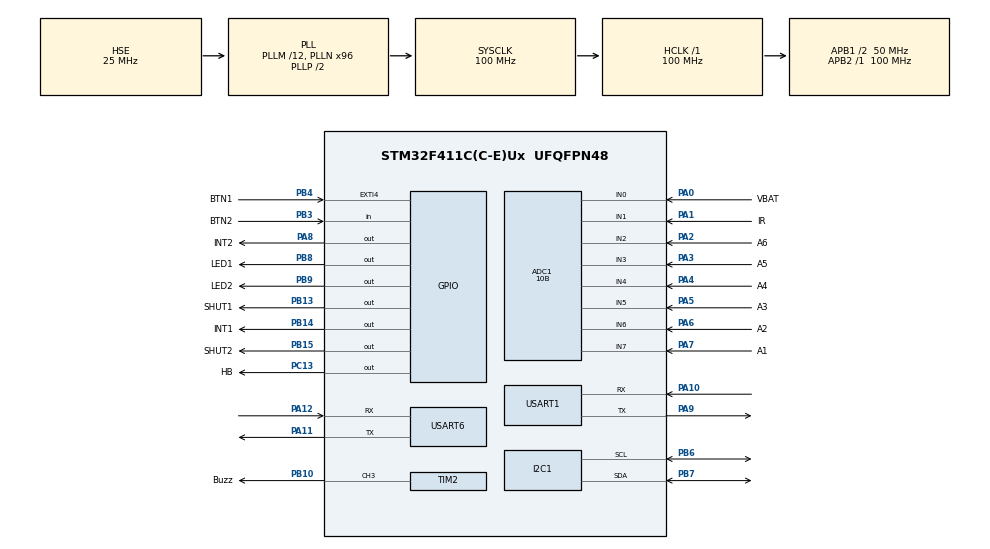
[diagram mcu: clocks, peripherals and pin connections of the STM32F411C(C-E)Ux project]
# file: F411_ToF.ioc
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ADC1.Channel-0\#ChannelRegularConversion=ADC_CHANNEL_1
ADC1.ContinuousConvMode=ENABLE
ADC1.DMAContinuousRequests=ENABLE
ADC1.NbrOfConversionFlag=1
ADC1.Rank-0\#ChannelRegularConversion=1
ADC1.Resolution=ADC_RESOLUTION_10B
ADC1.SamplingTime-0\#ChannelRegularConversion=ADC_SAMPLETIME_3CYCLES
ADC1.ScanConvMode=ENABLE
ADC1.master=1
Dma.ADC1.0.Direction=DMA_PERIPH_TO_MEMORY
Dma.ADC1.0.FIFOMode=DMA_FIFOMODE_DISABLE
Dma.ADC1.0.Instance=DMA2_Stream0
Dma.ADC1.0.MemDataAlignment=DMA_MDATAALIGN_HALFWORD
Dma.ADC1.0.MemInc=DMA_MINC_ENABLE
Dma.ADC1.0.Mode=DMA_NORMAL
Dma.ADC1.0.PeriphDataAlignment=DMA_PDATAALIGN_HALFWORD
Dma.ADC1.0.PeriphInc=DMA_PINC_DISABLE
Dma.ADC1.0.Priority=DMA_PRIORITY_LOW
Dma.Request0=ADC1
Dma.Request1=USART1_RX
Dma.Request2=USART1_TX
Dma.USART1_RX.1.Direction=DMA_PERIPH_TO_MEMORY
Dma.USART1_RX.1.FIFOMode=DMA_FIFOMODE_DISABLE
Dma.USART1_RX.1.Instance=DMA2_Stream5
Dma.USART1_RX.1.MemDataAlignment=DMA_MDATAALIGN_BYTE
Dma.USART1_RX.1.MemInc=DMA_MINC_ENABLE
Dma.USART1_RX.1.Mode=DMA_NORMAL
Dma.USART1_RX.1.PeriphDataAlignment=DMA_PDATAALIGN_BYTE
Dma.USART1_RX.1.PeriphInc=DMA_PINC_DISABLE
Dma.USART1_RX.1.Priority=DMA_PRIORITY_LOW
Dma.USART1_TX.2.Direction=DMA_MEMORY_TO_PERIPH
Dma.USART1_TX.2.FIFOMode=DMA_FIFOMODE_DISABLE
Dma.USART1_TX.2.Instance=DMA2_Stream7
Dma.USART1_TX.2.MemDataAlignment=DMA_MDATAALIGN_BYTE
Dma.USART1_TX.2.MemInc=DMA_MINC_ENABLE
Dma.USART1_TX.2.Mode=DMA_NORMAL
Dma.USART1_TX.2.PeriphDataAlignment=DMA_PDATAALIGN_BYTE
Dma.USART1_TX.2.PeriphInc=DMA_PINC_DISABLE
Dma.USART1_TX.2.Priority=DMA_PRIORITY_LOW
Mcu.Family=STM32F4
Mcu.Name=STM32F411C(C-E)Ux
Mcu.Package=UFQFPN48
NVIC.DMA2_Stream0_IRQn=true\:0\:0\:false\:false\:true\:false\:true\:true
NVIC.DMA2_Stream5_IRQn=true\:0\:0\:false\:false\:true\:false\:true\:true
NVIC.DMA2_Stream7_IRQn=true\:0\:0\:false\:false\:true\:false\:true\:true
NVIC.PriorityGroup=NVIC_PRIORITYGROUP_4
NVIC.USART1_IRQn=true\:0\:0\:false\:false\:true\:true\:true\:true
PA0-WKUP.GPIO_Label=VBAT
PA0-WKUP.Signal=ADCx_IN0
PA1.GPIO_Label=IR
PA1.Signal=ADCx_IN1
PA10.Mode=Asynchronous
PA10.Signal=USART1_RX
PA11.Mode=Asynchronous
PA11.Signal=USART6_TX
PA12.Mode=Asynchronous
PA12.Signal=USART6_RX
PA13.Mode=Serial_Wire
PA13.Signal=SYS_JTMS-SWDIO
PA14.Mode=Serial_Wire
PA14.Signal=SYS_JTCK-SWCLK
PA2.GPIO_Label=A6
PA2.Signal=ADCx_IN2
PA3.GPIO_Label=A5
PA3.Signal=ADCx_IN3
PA4.GPIO_Label=A4
PA4.Signal=ADCx_IN4
PA5.GPIO_Label=A3
PA5.Signal=ADCx_IN5
PA6.GPIO_Label=A2
PA6.Signal=ADCx_IN6
PA7.GPIO_Label=A1
PA7.Signal=ADCx_IN7
PA8.GPIO_Label=INT2
PA8.Signal=GPIO_Output
PA9.Mode=Asynchronous
PA9.Signal=USART1_TX
PB10.GPIO_Label=Buzz
PB10.Signal=S_TIM2_CH3
PB13.GPIO_Label=SHUT1
PB13.Signal=GPIO_Output
PB14.GPIO_Label=INT1
PB14.Signal=GPIO_Output
PB15.GPIO_Label=SHUT2
PB15.Signal=GPIO_Output
PB3.GPIO_Label=BTN2
PB3.Signal=GPIO_Input
PB4.GPIO_Label=BTN1
PB4.Signal=GPXTI4
PB6.Mode=I2C
PB6.Signal=I2C1_SCL
PB7.Mode=I2C
PB7.Signal=I2C1_SDA
PB8.GPIO_Label=LED1
PB8.Signal=GPIO_Output
PB9.GPIO_Label=LED2
PB9.Signal=GPIO_Output
PC13-ANTI_TAMP.GPIO_Label=HB
PC13-ANTI_TAMP.Signal=GPIO_Output
PH0\ -\ OSC_IN.Mode=HSE-External-Oscillator
PH0\ -\ OSC_IN.Signal=RCC_OSC_IN
PH1\ -\ OSC_OUT.Mode=HSE-External-Oscillator
PH1\ -\ OSC_OUT.Signal=RCC_OSC_OUT
ProjectManager.HeapSize=0x200
ProjectManager.StackSize=0x400
ProjectManager.TargetToolchain=STM32CubeIDE
RCC.48MHZClocksFreq_Value=50000000
RCC.AHBFreq_Value=100000000
RCC.APB1CLKDivider=RCC_HCLK_DIV2
RCC.APB1Freq_Value=50000000
RCC.APB1TimFreq_Value=100000000
RCC.APB2Freq_Value=100000000
RCC.APB2TimFreq_Value=100000000
RCC.CortexFreq_Value=100000000
RCC.HCLKFreq_Value=100000000
RCC.HSE_VALUE=25000000
RCC.HSI_VALUE=16000000
RCC.LSE_VALUE=32768
RCC.PLLM=12
RCC.PLLN=96
RCC.PLLSourceVirtual=RCC_PLLSOURCE_HSE
RCC.SYSCLKFreq_VALUE=100000000
RCC.SYSCLKSource=RCC_SYSCLKSOURCE_PLLCLK
RCC.VCOOutputFreq_Value=200000000
SH.ADCx_IN0.0=ADC1_IN0,IN0
SH.ADCx_IN1.0=ADC1_IN1,IN1
SH.ADCx_IN2.0=ADC1_IN2,IN2
SH.ADCx_IN3.0=ADC1_IN3,IN3
SH.ADCx_IN4.0=ADC1_IN4,IN4
SH.ADCx_IN5.0=ADC1_IN5,IN5
SH.ADCx_IN6.0=ADC1_IN6,IN6
SH.ADCx_IN7.0=ADC1_IN7,IN7
SH.S_TIM2_CH3.0=TIM2_CH3,PWM Generation3 CH3
TIM2.Channel-PWM\ Generation3\ CH3=TIM_CHANNEL_3
USART1.VirtualMode=VM_ASYNC
USART6.VirtualMode=VM_ASYNC
VP_TIM2_VS_ClockSourceINT.Mode=Internal
board=custom

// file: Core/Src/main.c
/* USER CODE BEGIN Header */
/**
  ******************************************************************************
  * @file           : main.c
  * @brief          : Main program body
  ******************************************************************************
  * @attention
  *
  * Copyright (c) 2026 STMicroelectronics.
  * All rights reserved.
  *
  * This software is licensed under terms that can be found in the LICENSE file
  * in the root directory of this software component.
  * If no LICENSE file comes with this software, it is provided AS-IS.
  *
  ******************************************************************************
  */
/* USER CODE END Header */
#include "main.h"

/* USER CODE BEGIN Includes */
#include "VL53L1X_api.h"
#include "VL53L1X_calibration.h"
#include "Debug.h"
/* USER CODE END Includes */

/* USER CODE BEGIN PTD */
typedef enum {
	STANDBY,
	INIT,
	RUNNING
}executeState;

typedef struct {
	uint8_t msgID;
	int16_t MTR1_setSpeed;
	int16_t MTR2_setSpeed;
	int16_t MTR1_speed;
	int16_t MTR2_speed;
}motorSpeed;

typedef struct {
	uint8_t msgID;
	uint8_t vBat;
	uint8_t fault;
}motorTEL;

motorTEL telFrame;

enum MsgID {
	MOTORCMD,
	MOTORTEL,
	FAULT
};
/* USER CODE END PTD */

/* USER CODE BEGIN PD */
#define tof0 0x52
#define tof1 0x54
#define tof2 0x52
#define rx_buff_size 10
/* USER CODE END PD */

ADC_HandleTypeDef hadc1;
DMA_HandleTypeDef hdma_adc1;

I2C_HandleTypeDef hi2c1;

TIM_HandleTypeDef htim2;

UART_HandleTypeDef huart1;
UART_HandleTypeDef huart6;
DMA_HandleTypeDef hdma_usart1_rx;
DMA_HandleTypeDef hdma_usart1_tx;

/* USER CODE BEGIN PV */
uint8_t rx_buff[rx_buff_size];

VL53L1X_ERROR status;

executeState progState;

float Rrate = 0;
uint32_t last = 0;
uint16_t distance;
uint8_t rangeStatus;
uint32_t startTick = 0;
uint32_t freeTick = 0;
uint32_t endTick = 0;
/* USER CODE END PV */

void SystemClock_Config(void);
static void MX_GPIO_Init(void);
static void MX_DMA_Init(void);
static void MX_I2C1_Init(void);
static void MX_ADC1_Init(void);
static void MX_TIM2_Init(void);
static void MX_USART1_UART_Init(void);
static void MX_USART6_UART_Init(void);
/* USER CODE BEGIN PFP */
#ifdef __GNUC__
#define PUTCHAR_PROTOTYPE int __io_putchar(int ch)
#else
#define PUTCHAR_PROTOTYPE int fputc(int ch, FILE *f)
#endif

void debug_HB(void);
void tofSensorRoutine(uint16_t dev, uint8_t newDev, GPIO_TypeDef* shutPort, uint16_t shutPin);

void getLinePos(float* pos);
/* USER CODE END PFP */

int main(void)
{

  /* MCU Configuration--------------------------------------------------------*/

  /* Reset of all peripherals, Initializes the Flash interface and the Systick. */
  HAL_Init();

  /* Configure the system clock */
  SystemClock_Config();

  /* Initialize all configured peripherals */
  MX_GPIO_Init();
  MX_DMA_Init();
  MX_I2C1_Init();
  MX_ADC1_Init();
  MX_TIM2_Init();
  MX_USART1_UART_Init();
  MX_USART6_UART_Init();
  /* USER CODE BEGIN 2 */
  printf("System initializing...\r\n");
  HAL_Delay(50);
  progState = INIT;
  if (progState == INIT) {

	  tofSensorRoutine(tof0, tof1, SHUT1_GPIO_Port, SHUT1_Pin);
	  VL53L1X_StartRanging(tof1);
	  progState = RUNNING;
  }

  HAL_UART_Receive_DMA(&huart6, rx_buff, rx_buff_size);
  /* USER CODE END 2 */

  /* Infinite loop */
  /* USER CODE BEGIN WHILE */
  while (1) {
	  if (progState == RUNNING) {
		  uint8_t rangeDataReady;

		  VL53L1X_CheckForDataReady(tof1, &rangeDataReady);
		  if (rangeDataReady) {
			  rangeDataReady = 0;
			  VL53L1X_GetRangeStatus(tof1, &rangeStatus);
			  VL53L1X_GetDistance(tof1, &distance);
			  printf("R%dS%d\n", distance, rangeStatus);
			  VL53L1X_ClearInterrupt(tof1);
			  Rrate = 1000.0f / (HAL_GetTick() - last);
			  last = HAL_GetTick();
		  }

		  HAL_Delay(1);

	  }

	  debug_HB();
    /* USER CODE END WHILE */

  }
}

void SystemClock_Config(void)
{
  RCC_OscInitTypeDef RCC_OscInitStruct = {0};
  RCC_ClkInitTypeDef RCC_ClkInitStruct = {0};

  /** Configure the main internal regulator output voltage
  */
  __HAL_RCC_PWR_CLK_ENABLE();
  __HAL_PWR_VOLTAGESCALING_CONFIG(PWR_REGULATOR_VOLTAGE_SCALE1);

  /** Initializes the RCC Oscillators according to the specified parameters
  * in the RCC_OscInitTypeDef structure.
  */
  RCC_OscInitStruct.OscillatorType = RCC_OSCILLATORTYPE_HSE;
  RCC_OscInitStruct.HSEState = RCC_HSE_ON;
  RCC_OscInitStruct.PLL.PLLState = RCC_PLL_ON;
  RCC_OscInitStruct.PLL.PLLSource = RCC_PLLSOURCE_HSE;
  RCC_OscInitStruct.PLL.PLLM = 12;
  RCC_OscInitStruct.PLL.PLLN = 96;
  RCC_OscInitStruct.PLL.PLLP = RCC_PLLP_DIV2;
  RCC_OscInitStruct.PLL.PLLQ = 4;
  if (HAL_RCC_OscConfig(&RCC_OscInitStruct) != HAL_OK)
  {
    Error_Handler();
  }

  /** Initializes the CPU, AHB and APB buses clocks
  */
  RCC_ClkInitStruct.ClockType = RCC_CLOCKTYPE_HCLK|RCC_CLOCKTYPE_SYSCLK
                              |RCC_CLOCKTYPE_PCLK1|RCC_CLOCKTYPE_PCLK2;
  RCC_ClkInitStruct.SYSCLKSource = RCC_SYSCLKSOURCE_PLLCLK;
  RCC_ClkInitStruct.AHBCLKDivider = RCC_SYSCLK_DIV1;
  RCC_ClkInitStruct.APB1CLKDivider = RCC_HCLK_DIV2;
  RCC_ClkInitStruct.APB2CLKDivider = RCC_HCLK_DIV1;

  if (HAL_RCC_ClockConfig(&RCC_ClkInitStruct, FLASH_LATENCY_3) != HAL_OK)
  {
    Error_Handler();
  }
}

static void MX_ADC1_Init(void)
{

  ADC_ChannelConfTypeDef sConfig = {0};

  /** Configure the global features of the ADC (Clock, Resolution, Data Alignment and number of conversion)
  */
  hadc1.Instance = ADC1;
  hadc1.Init.ClockPrescaler = ADC_CLOCK_SYNC_PCLK_DIV4;
  hadc1.Init.Resolution = ADC_RESOLUTION_10B;
  hadc1.Init.ScanConvMode = ENABLE;
  hadc1.Init.ContinuousConvMode = ENABLE;
  hadc1.Init.DiscontinuousConvMode = DISABLE;
  hadc1.Init.ExternalTrigConvEdge = ADC_EXTERNALTRIGCONVEDGE_NONE;
  hadc1.Init.ExternalTrigConv = ADC_SOFTWARE_START;
  hadc1.Init.DataAlign = ADC_DATAALIGN_RIGHT;
  hadc1.Init.NbrOfConversion = 1;
  hadc1.Init.DMAContinuousRequests = ENABLE;
  hadc1.Init.EOCSelection = ADC_EOC_SINGLE_CONV;
  if (HAL_ADC_Init(&hadc1) != HAL_OK)
  {
    Error_Handler();
  }

  /** Configure for the selected ADC regular channel its corresponding rank in the sequencer and its sample time.
  */
  sConfig.Channel = ADC_CHANNEL_1;
  sConfig.Rank = 1;
  sConfig.SamplingTime = ADC_SAMPLETIME_3CYCLES;
  if (HAL_ADC_ConfigChannel(&hadc1, &sConfig) != HAL_OK)
  {
    Error_Handler();
  }

}

static void MX_I2C1_Init(void)
{

  hi2c1.Instance = I2C1;
  hi2c1.Init.ClockSpeed = 100000;
  hi2c1.Init.DutyCycle = I2C_DUTYCYCLE_2;
  hi2c1.Init.OwnAddress1 = 0;
  hi2c1.Init.AddressingMode = I2C_ADDRESSINGMODE_7BIT;
  hi2c1.Init.DualAddressMode = I2C_DUALADDRESS_DISABLE;
  hi2c1.Init.OwnAddress2 = 0;
  hi2c1.Init.GeneralCallMode = I2C_GENERALCALL_DISABLE;
  hi2c1.Init.NoStretchMode = I2C_NOSTRETCH_DISABLE;
  if (HAL_I2C_Init(&hi2c1) != HAL_OK)
  {
    Error_Handler();
  }

}

static void MX_TIM2_Init(void)
{

  TIM_ClockConfigTypeDef sClockSourceConfig = {0};
  TIM_MasterConfigTypeDef sMasterConfig = {0};
  TIM_OC_InitTypeDef sConfigOC = {0};

  htim2.Instance = TIM2;
  htim2.Init.Prescaler = 0;
  htim2.Init.CounterMode = TIM_COUNTERMODE_UP;
  htim2.Init.Period = 4294967295;
  htim2.Init.ClockDivision = TIM_CLOCKDIVISION_DIV1;
  htim2.Init.AutoReloadPreload = TIM_AUTORELOAD_PRELOAD_DISABLE;
  if (HAL_TIM_Base_Init(&htim2) != HAL_OK)
  {
    Error_Handler();
  }
  sClockSourceConfig.ClockSource = TIM_CLOCKSOURCE_INTERNAL;
  if (HAL_TIM_ConfigClockSource(&htim2, &sClockSourceConfig) != HAL_OK)
  {
    Error_Handler();
  }
  if (HAL_TIM_PWM_Init(&htim2) != HAL_OK)
  {
    Error_Handler();
  }
  sMasterConfig.MasterOutputTrigger = TIM_TRGO_RESET;
  sMasterConfig.MasterSlaveMode = TIM_MASTERSLAVEMODE_DISABLE;
  if (HAL_TIMEx_MasterConfigSynchronization(&htim2, &sMasterConfig) != HAL_OK)
  {
    Error_Handler();
  }
  sConfigOC.OCMode = TIM_OCMODE_PWM1;
  sConfigOC.Pulse = 0;
  sConfigOC.OCPolarity = TIM_OCPOLARITY_HIGH;
  sConfigOC.OCFastMode = TIM_OCFAST_DISABLE;
  if (HAL_TIM_PWM_ConfigChannel(&htim2, &sConfigOC, TIM_CHANNEL_3) != HAL_OK)
  {
    Error_Handler();
  }
  HAL_TIM_MspPostInit(&htim2);

}

static void MX_USART1_UART_Init(void)
{

  huart1.Instance = USART1;
  huart1.Init.BaudRate = 115200;
  huart1.Init.WordLength = UART_WORDLENGTH_8B;
  huart1.Init.StopBits = UART_STOPBITS_1;
  huart1.Init.Parity = UART_PARITY_NONE;
  huart1.Init.Mode = UART_MODE_TX_RX;
  huart1.Init.HwFlowCtl = UART_HWCONTROL_NONE;
  huart1.Init.OverSampling = UART_OVERSAMPLING_16;
  if (HAL_UART_Init(&huart1) != HAL_OK)
  {
    Error_Handler();
  }

}

static void MX_USART6_UART_Init(void)
{

  huart6.Instance = USART6;
  huart6.Init.BaudRate = 115200;
  huart6.Init.WordLength = UART_WORDLENGTH_8B;
  huart6.Init.StopBits = UART_STOPBITS_1;
  huart6.Init.Parity = UART_PARITY_NONE;
  huart6.Init.Mode = UART_MODE_TX_RX;
  huart6.Init.HwFlowCtl = UART_HWCONTROL_NONE;
  huart6.Init.OverSampling = UART_OVERSAMPLING_16;
  if (HAL_UART_Init(&huart6) != HAL_OK)
  {
    Error_Handler();
  }

}

static void MX_DMA_Init(void)
{

  /* DMA controller clock enable */
  __HAL_RCC_DMA2_CLK_ENABLE();

  /* DMA interrupt init */
  /* DMA2_Stream0_IRQn interrupt configuration */
  HAL_NVIC_SetPriority(DMA2_Stream0_IRQn, 0, 0);
  HAL_NVIC_EnableIRQ(DMA2_Stream0_IRQn);
  /* DMA2_Stream5_IRQn interrupt configuration */
  HAL_NVIC_SetPriority(DMA2_Stream5_IRQn, 0, 0);
  HAL_NVIC_EnableIRQ(DMA2_Stream5_IRQn);
  /* DMA2_Stream7_IRQn interrupt configuration */
  HAL_NVIC_SetPriority(DMA2_Stream7_IRQn, 0, 0);
  HAL_NVIC_EnableIRQ(DMA2_Stream7_IRQn);

}

static void MX_GPIO_Init(void)
{
  GPIO_InitTypeDef GPIO_InitStruct = {0};

  /* GPIO Ports Clock Enable */
  __HAL_RCC_GPIOC_CLK_ENABLE();
  __HAL_RCC_GPIOH_CLK_ENABLE();
  __HAL_RCC_GPIOA_CLK_ENABLE();
  __HAL_RCC_GPIOB_CLK_ENABLE();

  /*Configure GPIO pin Output Level */
  HAL_GPIO_WritePin(HB_GPIO_Port, HB_Pin, GPIO_PIN_RESET);

  /*Configure GPIO pin Output Level */
  HAL_GPIO_WritePin(GPIOB, SHUT1_Pin|INT1_Pin|SHUT2_Pin|LED1_Pin
                          |LED2_Pin, GPIO_PIN_RESET);

  /*Configure GPIO pin Output Level */
  HAL_GPIO_WritePin(INT2_GPIO_Port, INT2_Pin, GPIO_PIN_RESET);

  /*Configure GPIO pin : HB_Pin */
  GPIO_InitStruct.Pin = HB_Pin;
  GPIO_InitStruct.Mode = GPIO_MODE_OUTPUT_PP;
  GPIO_InitStruct.Pull = GPIO_NOPULL;
  GPIO_InitStruct.Speed = GPIO_SPEED_FREQ_LOW;
  HAL_GPIO_Init(HB_GPIO_Port, &GPIO_InitStruct);

  /*Configure GPIO pins : SHUT1_Pin INT1_Pin SHUT2_Pin LED1_Pin
                           LED2_Pin */
  GPIO_InitStruct.Pin = SHUT1_Pin|INT1_Pin|SHUT2_Pin|LED1_Pin
                          |LED2_Pin;
  GPIO_InitStruct.Mode = GPIO_MODE_OUTPUT_PP;
  GPIO_InitStruct.Pull = GPIO_NOPULL;
  GPIO_InitStruct.Speed = GPIO_SPEED_FREQ_LOW;
  HAL_GPIO_Init(GPIOB, &GPIO_InitStruct);

  /*Configure GPIO pin : INT2_Pin */
  GPIO_InitStruct.Pin = INT2_Pin;
  GPIO_InitStruct.Mode = GPIO_MODE_OUTPUT_PP;
  GPIO_InitStruct.Pull = GPIO_NOPULL;
  GPIO_InitStruct.Speed = GPIO_SPEED_FREQ_LOW;
  HAL_GPIO_Init(INT2_GPIO_Port, &GPIO_InitStruct);

  /*Configure GPIO pin : BTN2_Pin */
  GPIO_InitStruct.Pin = BTN2_Pin;
  GPIO_InitStruct.Mode = GPIO_MODE_INPUT;
  GPIO_InitStruct.Pull = GPIO_NOPULL;
  HAL_GPIO_Init(BTN2_GPIO_Port, &GPIO_InitStruct);

  /*Configure GPIO pin : BTN1_Pin */
  GPIO_InitStruct.Pin = BTN1_Pin;
  GPIO_InitStruct.Mode = GPIO_MODE_IT_RISING;
  GPIO_InitStruct.Pull = GPIO_NOPULL;
  HAL_GPIO_Init(BTN1_GPIO_Port, &GPIO_InitStruct);

}

/* USER CODE BEGIN 4 */

/*
 *  ========= DEBUGGING ==========
 * */
PUTCHAR_PROTOTYPE
{
	HAL_UART_Transmit(&huart1, (uint8_t *)&ch, 1, HAL_MAX_DELAY);
	return ch;
}

void debug_HB() {
	static uint32_t lastTick = 0;
	if (HAL_GetTick() - lastTick >= 1000) {
		lastTick = HAL_GetTick();
		HAL_GPIO_TogglePin(HB_GPIO_Port, HB_Pin);
	}
}

/*
 *  ========= ToF Sensor Routines ==========
 * */
void tofSensorRoutine(uint16_t dev, uint8_t newDev, GPIO_TypeDef* shutPort, uint16_t shutPin) {
	dbg_printf("TOF SENSOR ROUTINE\n");
	uint8_t tofBootState = 0;
	uint8_t Timeout = 0;

	HAL_GPIO_WritePin(shutPort, shutPin, GPIO_PIN_RESET);
	HAL_Delay(2);
	HAL_GPIO_WritePin(shutPort, shutPin, GPIO_PIN_SET);

	dbg_printf("Checking boot state\n");
	while(tofBootState == 0) {
		status = VL53L1X_BootState(dev, &tofBootState);
		Timeout++;
		if (Timeout >= 200) {
			dbg_printf("Sensor not booting\n");
			Error_Handler();
			}
		HAL_Delay(2);
		}
	dbg_printf("Sensor booted\n");

	/* Initialize sensor */
	status = VL53L1X_SensorInit(dev);
	dbg_printf("Sensor initialization status: 0x%x\n", status);
	if (dev != newDev) {
		dbg_printf("Changing address to 0x%x\n", newDev);
		status = VL53L1X_SetI2CAddress(dev, newDev);
		dbg_printf("Set I2C Address status: 0x%x\n", status);
		}
	HAL_Delay(10);

	/* Modify default configurations */
	status = VL53L1X_SetDistanceMode(newDev, 1);
	dbg_printf("Set Distance Mode status: 0x%x\n", status);
	status = VL53L1X_SetTimingBudgetInMs(newDev, 20);
	dbg_printf("Set timing budget status: 0x%x\n", status);
	status = VL53L1X_SetInterMeasurementInMs(newDev, 20);
	dbg_printf("Set InterMeasurement status: 0x%x\n", status);
	//status = VL53L1X_SetOffset(tof1, 0);
	dbg_printf("Sensor routine done\n");
	return;
}

void getLinePos(float* pos) {

}

void HAL_UART_RxCpltCallBack(UART_HandleTypeDef *huart) {
	HAL_UART_Receive_DMA(&huart6, rx_buff, rx_buff_size);
}

/* USER CODE END 4 */

void Error_Handler(void)
{
  /* USER CODE BEGIN Error_Handler_Debug */
  /* User can add his own implementation to report the HAL error return state */
  __disable_irq();
  while (1)
  {
	  HAL_GPIO_TogglePin(HB_GPIO_Port, HB_Pin);
  }
  /* USER CODE END Error_Handler_Debug */
}
